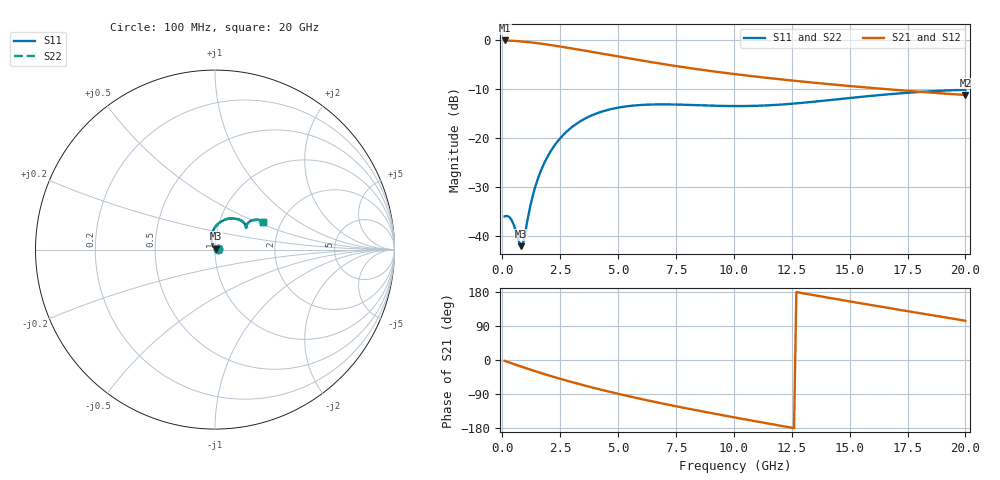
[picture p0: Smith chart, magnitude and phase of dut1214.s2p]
! Touchstone file exported from HFSS 2024.1.0
!  File:  C:/UserFiles/LocalFiles/RDL_TSV_Batchsim/temp_RDL_TSV_1214_1780260255.aedt
!  Generated:  05:03:01 AM Jun  1, 2026
!  Design:  RDL_TSV
!  Project:  temp_RDL_TSV_1214_1780260255
!  Setup:  Setup1
!  Solution:  Sweep
! Variables:
!  dtsv = 9.92um
!  hbump = 3um
!  htsv = 90.67um
!  ldown = 658.7um
!  lrdl = 430.56um
!  p = 40
!  p1 = 46.74um
!  rhole = 10um
!  subl = 3698.34um
!  t = 450um
!  tdown = 3.57um
!  trdl = 4.79um
!  viad = 10um
!  wdown = 21.17um
!  wrdl = 22.68um
!  xbump = 18um
# GHz S MA R 50.000000
! Terminal data exported
! Port[1] = TM1_1_T1
! Port[2] = TM1_4_T1
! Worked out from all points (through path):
!   200 points, 100 MHz to 20 GHz, reference 50 ohm
!   highest |S21| = -0.14 dB at 100 MHz (marker M1); lowest = -11.3 dB at 20 GHz (marker M2)
!   group delay of S21, straight-line fit = 33.7 ps
!   lowest |S11| = -42.1 dB at 800 MHz (marker M3), VSWR 1.02, Z = 50.5 + j0.604 ohm
!   |S11| at or under -10 dB: start of sweep to end of sweep
!   |S22| runs from -42.1 to -10.2 dB; largest |S21 - S12| = 9.1e-15
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0.1  0.01575 3.9  0.9837 -2.2  0.9837 -2.2  0.01574 3.9
! Gamma 0 0 0 0
! Port Impedance 50 0 50 0
0.3  0.01556 6.5  0.9797 -6.6  0.9797 -6.6  0.01555 6.5
0.4  0.0145 7.5  0.977 -8.7  0.977 -8.7  0.01448 7.5
0.5  0.01287 10.2  0.974 -10.8  0.974 -10.8  0.01285 10.2
0.8  0.007831 49.7  0.9626 -17.1  0.9626 -17.1  0.007813 50.3
0.9  0.008487 76.0  0.9579 -19.1  0.9579 -19.1  0.008509 76.6
1.2  0.01961 111.3  0.942 -25.2  0.942 -25.2  0.01974 111.5
1.4  0.03023 114.4  0.93 -29.2  0.93 -29.2  0.03042 114.6
1.8  0.05436 110.8  0.9036 -36.8  0.9036 -36.8  0.05467 111.0
2.1  0.07348 105.7  0.8824 -42.4  0.8824 -42.4  0.07388 105.8
2.5  0.09874 98.1  0.8531 -49.6  0.8531 -49.6  0.09928 98.1
3  0.1281 88.6  0.8159 -58.2  0.8159 -58.2  0.1288 88.7
3.5  0.1536 79.8  0.779 -66.4  0.779 -66.4  0.1545 79.9
4.2  0.1816 68.9  0.7288 -77.4  0.7288 -77.4  0.1827 69.0
5.1  0.2048 57.4  0.6686 -90.6  0.6686 -90.6  0.2061 57.5
6.8  0.2192 42.7  0.5721 -113.3  0.5721 -113.3  0.2208 42.8
8.4  0.2152 36.2  0.5018 -132.8  0.5018 -132.8  0.217 36.2
10.1  0.2105 35.2  0.4443 -152.4  0.4443 -152.4  0.2124 35.0
11.7  0.2156 37.1  0.402 -170.0  0.402 -170.0  0.2173 36.9
13.4  0.2324 38.9  0.3657 171.6  0.3657 171.6  0.2339 38.6
16.7  0.278 36.8  0.3118 137.0  0.3118 137.0  0.279 36.5
20  0.3091 30.2  0.2731 103.6  0.2731 103.6  0.3098 30.0
